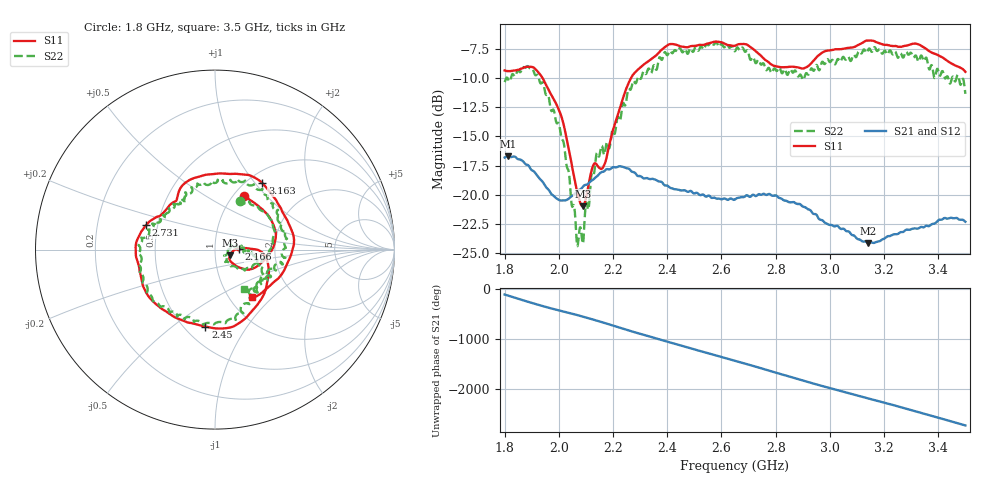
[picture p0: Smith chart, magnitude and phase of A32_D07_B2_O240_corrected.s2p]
! Created with skrf 1.9.0 (http://scikit-rf.org).
# Hz S RI R 50.0
!freq ReS11 ImS11 ReS21 ImS21 ReS12 ImS12 ReS22 ImS22
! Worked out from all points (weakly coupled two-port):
!   1601 points, 1.8 GHz to 3.5 GHz, reference 50 ohm
!   highest |S21| = -16.70 dB at 1.812 GHz (marker M1); lowest = -24.1 dB at 3.142 GHz (marker M2)
!   lowest |S11| = -21.0 dB at 2.088 GHz (marker M3), VSWR 1.20, Z = 58.9 - j3.89 ohm
!   |S11| at or under -10 dB: 1.94 GHz to 2.266 GHz (326.5 MHz wide, 15.5 % of centre)
!   |S22| runs from -24.4 to -6.9 dB; largest |S21 - S12| = 0.0027
!   S11 on the Smith chart (normalised r, x): 1.8 GHz: 1.12, +0.76; 2.166 GHz: 1.31, +0.01; 2.45 GHz: 0.63, -0.66; 2.731 GHz: 0.43, +0.14; 3.163 GHz: 1.16, +1.09; 3.5 GHz: 1.26, -0.76
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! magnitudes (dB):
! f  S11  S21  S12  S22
! 1.8 GHz  -9.3  -16.8  -16.8  -10.3
! 1.812 GHz  -9.4  -16.7  -16.7  -10.1
! 1.886 GHz  -9.0  -17.5  -17.5  -9.0
! 1.942 GHz  -10.1  -19.0  -19.0  -10.5
! 2.01 GHz  -13.4  -20.5  -20.5  -15.2
! 2.067 GHz  -19.6  -19.7  -19.7  -24.2
! 2.084 GHz  -20.9  -19.5  -19.4  -23.4
! 2.088 GHz  -21.0  -19.4  -19.4  -24.2
! 2.137 GHz  -17.3  -18.5  -18.5  -16.8
! 2.166 GHz  -17.6  -18.0  -18.0  -16.5
! 2.262 GHz  -10.2  -17.8  -17.9  -11.0
! 2.367 GHz  -7.9  -18.9  -18.8  -8.5
! 2.45 GHz  -7.3  -19.6  -19.6  -7.6
! 2.65 GHz  -7.2  -20.4  -20.4  -7.7
! 2.731 GHz  -7.8  -20.1  -20.1  -8.6
! 2.812 GHz  -9.1  -20.3  -20.2  -9.1
! 2.934 GHz  -8.7  -21.5  -21.5  -9.2
! 3.142 GHz  -6.8  -24.1  -24.1  -7.6
! 3.163 GHz  -6.8  -24.1  -24.1  -7.4
! 3.217 GHz  -7.2  -23.5  -23.5  -7.8
! 3.325 GHz  -7.1  -22.9  -22.9  -8.5
! 3.5 GHz  -9.5  -22.3  -22.3  -11.3
